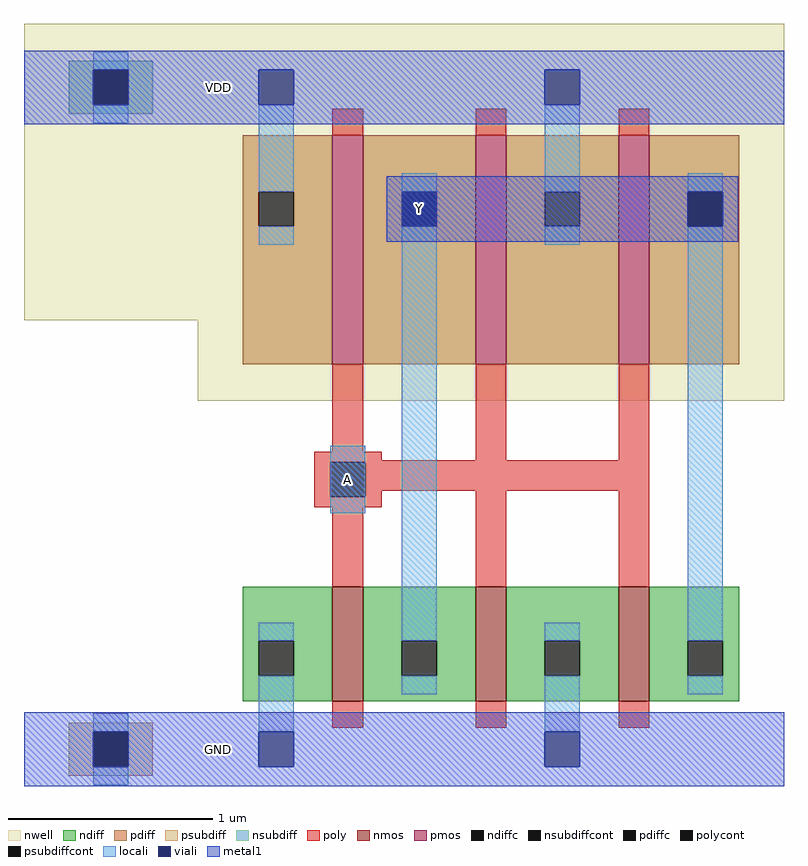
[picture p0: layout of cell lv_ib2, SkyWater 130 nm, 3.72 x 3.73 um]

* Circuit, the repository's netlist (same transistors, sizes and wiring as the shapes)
* NGSPICE file created from lv_ib2.ext - technology: sky130A

.subckt ib2 A Y VDD GND w_0_341# VSUBS
X0 Y A VDD w_0_341# sky130_fd_pr__pfet_01v8 ad=0.308 pd=1.67 as=0.4928 ps=3.12 w=1.12 l=0.15
X1 GND A Y VSUBS sky130_fd_pr__nfet_01v8 ad=0.154 pd=1.11 as=0.154 ps=1.11 w=0.56 l=0.15
X2 Y A GND VSUBS sky130_fd_pr__nfet_01v8 ad=0.2464 pd=2 as=0.154 ps=1.11 w=0.56 l=0.15
X3 Y A VDD w_0_341# sky130_fd_pr__pfet_01v8 ad=0.4928 pd=3.12 as=0.308 ps=1.67 w=1.12 l=0.15
X4 VDD A Y w_0_341# sky130_fd_pr__pfet_01v8 ad=0.308 pd=1.67 as=0.308 ps=1.67 w=1.12 l=0.15
X5 Y A GND VSUBS sky130_fd_pr__nfet_01v8 ad=0.154 pd=1.11 as=0.2464 ps=2 w=0.56 l=0.15
.ends

.subckt lv_ib2 A Y VDD GND
Xu A Y VDD GND VDD GND ib2
.ends

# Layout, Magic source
magic
tech sky130A
magscale 1 2
<< locali >>
rect 300 247 334 281
<< metal1 >>
rect 173 631 207 665
rect 370 512 404 546
rect 173 -17 207 17
use tap  t
transform 1 0 0 0 1 0
box 0 -36 170 710
use ib2  u
transform 1 0 170 0 1 0
box 0 -36 574 710
<< labels >>
rlabel locali 317 264 317 264 0 A
port 1 nsew
rlabel metal1 387 529 387 529 0 Y
port 2 nsew
rlabel metal1 190 648 190 648 0 VDD
port 3 nsew
rlabel metal1 190 0 190 0 0 GND
port 4 nsew
<< end >>

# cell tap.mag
magic
tech sky130A
magscale 1 2
<< nwell >>
rect 0 420 170 710
<< psubdiff >>
rect 44 17 126 26
rect 44 -17 68 17
rect 102 -17 126 17
rect 44 -26 126 -17
<< nsubdiff >>
rect 44 665 126 674
rect 44 631 68 665
rect 102 631 126 665
rect 44 622 126 631
<< psubdiffcont >>
rect 68 -17 102 17
<< nsubdiffcont >>
rect 68 631 102 665
<< locali >>
rect 68 665 102 683
rect 68 613 102 631
rect 68 17 102 35
rect 68 -35 102 -17
<< viali >>
rect 68 631 102 665
rect 68 -17 102 17
<< metal1 >>
rect 0 665 170 684
rect 0 631 68 665
rect 102 631 170 665
rect 0 612 170 631
rect 0 17 170 36
rect 0 -17 68 17
rect 102 -17 170 17
rect 0 -36 170 -17
<< labels >>
rlabel metal1 20 648 20 648 0 VDD
port 1 nsew
rlabel metal1 20 0 20 0 0 GND
port 2 nsew
<< end >>

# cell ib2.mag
magic
tech sky130A
magscale 1 2
<< nwell >>
rect 0 341 574 710
<< nmos >>
rect 132 47 162 159
rect 272 47 302 159
rect 412 47 442 159
<< pmos >>
rect 132 377 162 601
rect 272 377 302 601
rect 412 377 442 601
<< ndiff >>
rect 44 106 132 159
rect 44 72 60 106
rect 94 72 132 106
rect 44 47 132 72
rect 162 106 272 159
rect 162 72 200 106
rect 234 72 272 106
rect 162 47 272 72
rect 302 106 412 159
rect 302 72 340 106
rect 374 72 412 106
rect 302 47 412 72
rect 442 106 530 159
rect 442 72 480 106
rect 514 72 530 106
rect 442 47 530 72
<< pdiff >>
rect 44 546 132 601
rect 44 512 60 546
rect 94 512 132 546
rect 44 377 132 512
rect 162 546 272 601
rect 162 512 200 546
rect 234 512 272 546
rect 162 377 272 512
rect 302 546 412 601
rect 302 512 340 546
rect 374 512 412 546
rect 302 377 412 512
rect 442 546 530 601
rect 442 512 480 546
rect 514 512 530 546
rect 442 377 530 512
<< ndiffc >>
rect 60 72 94 106
rect 200 72 234 106
rect 340 72 374 106
rect 480 72 514 106
<< pdiffc >>
rect 60 512 94 546
rect 200 512 234 546
rect 340 512 374 546
rect 480 512 514 546
<< poly >>
rect 132 601 162 627
rect 272 601 302 627
rect 412 601 442 627
rect 132 291 162 377
rect 114 283 180 291
rect 272 283 302 377
rect 412 283 442 377
rect 114 281 442 283
rect 114 247 130 281
rect 164 253 442 281
rect 164 247 180 253
rect 114 237 180 247
rect 132 159 162 237
rect 272 159 302 253
rect 412 159 442 253
rect 132 21 162 47
rect 272 21 302 47
rect 412 21 442 47
<< polycont >>
rect 130 247 164 281
<< locali >>
rect 60 546 94 631
rect 60 494 94 512
rect 200 546 234 564
rect 130 281 164 297
rect 130 231 164 247
rect 60 106 94 124
rect 60 17 94 72
rect 200 106 234 512
rect 340 546 374 631
rect 340 494 374 512
rect 480 546 514 564
rect 200 54 234 72
rect 340 106 374 124
rect 340 17 374 72
rect 480 106 514 512
rect 480 54 514 72
<< viali >>
rect 60 631 94 665
rect 340 631 374 665
rect 200 512 234 546
rect 480 512 514 546
rect 60 -17 94 17
rect 340 -17 374 17
<< metal1 >>
rect 0 665 574 684
rect 0 631 60 665
rect 94 631 340 665
rect 374 631 574 665
rect 0 612 574 631
rect 185 546 529 561
rect 185 512 200 546
rect 234 512 480 546
rect 514 512 529 546
rect 185 497 529 512
rect 0 17 574 36
rect 0 -17 60 17
rect 94 -17 340 17
rect 374 -17 574 17
rect 0 -36 574 -17
<< labels >>
rlabel polycont 147 264 147 264 0 A
port 1 nsew
rlabel viali 217 529 217 529 0 Y
port 2 nsew
rlabel metal1 20 648 20 648 0 VDD
port 3 nsew
rlabel metal1 20 0 20 0 0 GND
port 4 nsew
<< end >>
